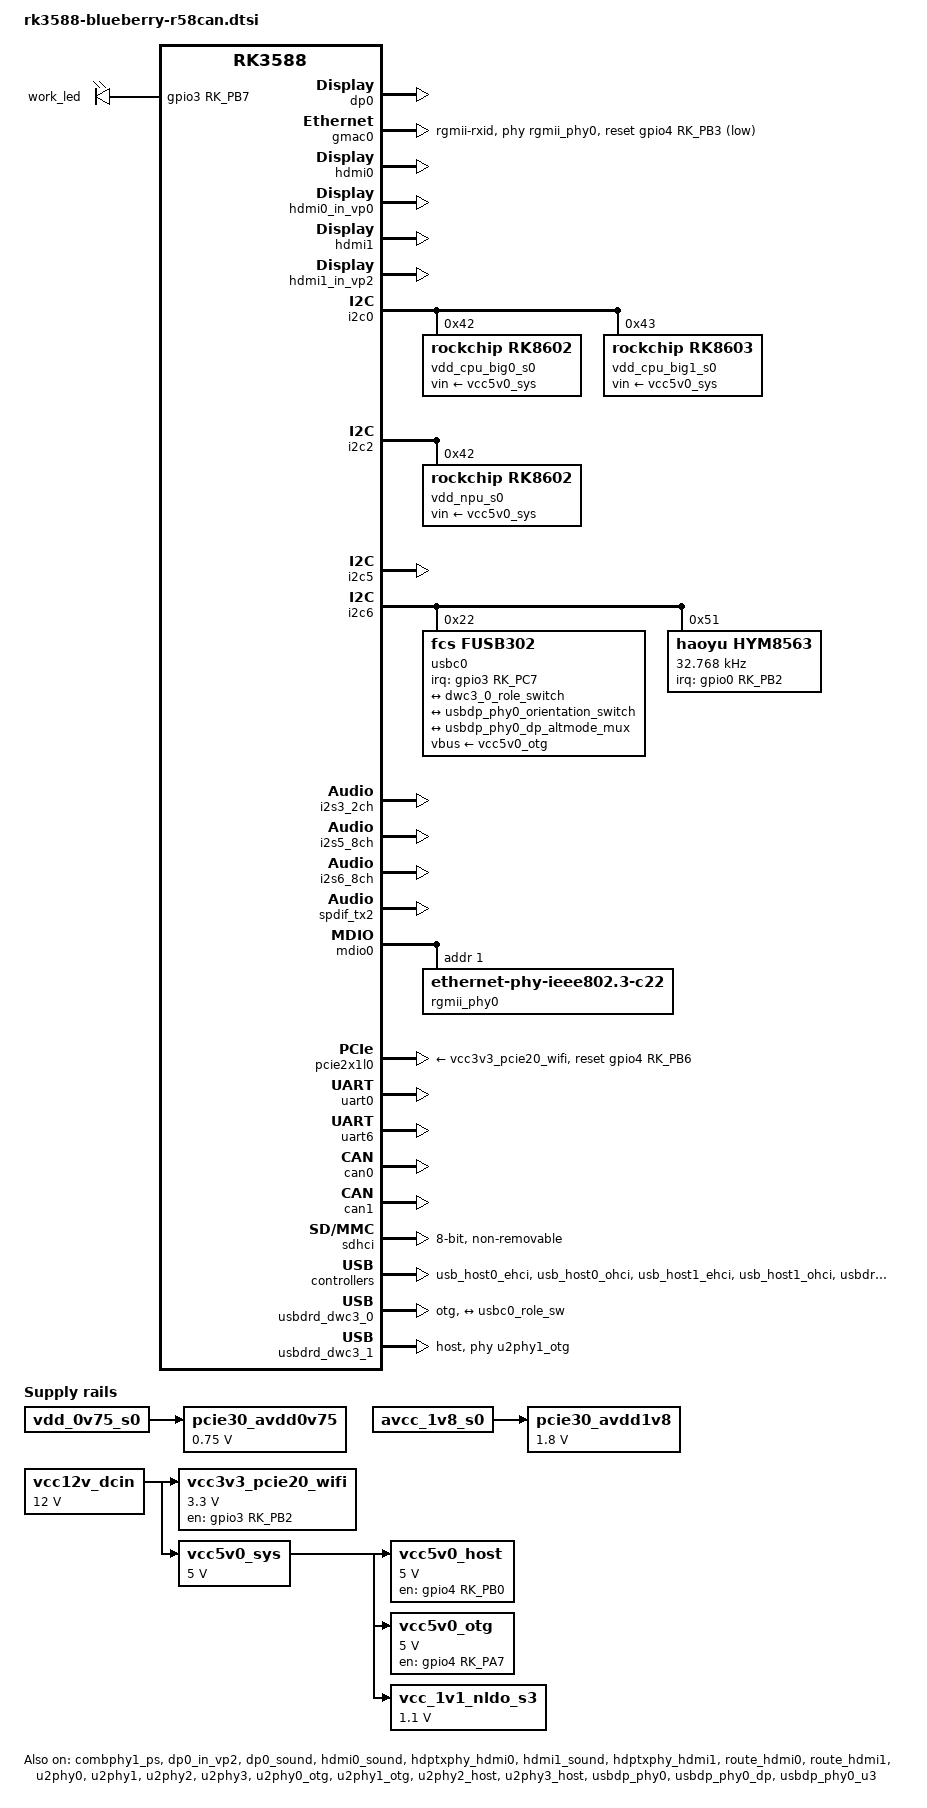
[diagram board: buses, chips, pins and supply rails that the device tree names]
// SPDX-License-Identifier: (GPL-2.0+ OR MIT)
/*
 * Copyright (c) 2021 Rockchip Electronics Co., Ltd.
 *
 */

#include "dt-bindings/usb/pd.h"
#include "rk3588.dtsi"
#include "rk3588-hugsun.dtsi"
#include "rk3588-rk806-single.dtsi"

/ {
	/* If hdmirx node is disabled, delete the reserved-memory node here. */
	reserved-memory {
		#address-cells = <2>;
		#size-cells = <2>;
		ranges;

		/* Reserve 256MB memory for hdmirx-controller@fdee0000 */
		cma {
			compatible = "shared-dma-pool";
			reusable;
			reg = <0x0 (256 * 0x100000) 0x0 (256 * 0x100000)>;
			linux,cma-default;
		};
	};

	i2s_sound {
			compatible = "simple-audio-card";
			simple-audio-card,name = "rockchip-i2s";
			simple-audio-card,format = "i2s";
			simple-audio-card,mclk-fs = < 128 >;
			simple-audio-card,bitclock-master = <&i2s_snd_cpu>;
			simple-audio-card,frame-master = <&i2s_snd_cpu>;
			status = "okay";

			i2s_snd_cpu: simple-audio-card,cpu {
				dai-tdm-slot-num = <2>;
				dai-tdm-slot-width = <16>;
				sound-dai = <&i2s3_2ch>;
			};

			i2s_snd_codec: simple-audio-card,codec {
				sound-dai = <&dummy_i2s_codec>;
			};
	};

	dummy_i2s_codec: dummy-codec {
			status = "okay";
			compatible = "rockchip,dummy-codec";
			#sound-dai-cells = < 0x00 >;
			phandle = < 0x139 >;
	};

	leds: leds {
		compatible = "gpio-leds";
		work_led: work-led {
			gpios = <&gpio3 RK_PB7 GPIO_ACTIVE_HIGH>;
			linux,default-trigger = "heartbeat";
		};
	};

	pcie30_avdd0v75: pcie30-avdd0v75 {
		compatible = "regulator-fixed";
		regulator-name = "pcie30_avdd0v75";
		regulator-boot-on;
		regulator-always-on;
		regulator-min-microvolt = <750000>;
		regulator-max-microvolt = <750000>;
		vin-supply = <&vdd_0v75_s0>;
	};

	pcie30_avdd1v8: pcie30-avdd1v8 {
		compatible = "regulator-fixed";
		regulator-name = "pcie30_avdd1v8";
		regulator-boot-on;
		regulator-always-on;
		regulator-min-microvolt = <1800000>;
		regulator-max-microvolt = <1800000>;
		vin-supply = <&avcc_1v8_s0>;
	};

	vcc12v_dcin: vcc12v-dcin {
		compatible = "regulator-fixed";
		regulator-name = "vcc12v_dcin";
		regulator-always-on;
		regulator-boot-on;
		regulator-min-microvolt = <12000000>;
		regulator-max-microvolt = <12000000>;
	};
	
	vcc3v3_pcie20_wifi: vcc3v3-pcie20-wifi {
		compatible = "regulator-fixed";
		regulator-name = "vcc3v3_pcie20_wifi";
		regulator-min-microvolt = <3300000>;
		regulator-max-microvolt = <3300000>;
		enable-active-high;
		/*
		* wifi_reg_on ����vbat��vddio�ȶ����ʹ�ܣ���reset-gpiosǰ���ߣ�����
		* �ŵ�PCIe�ĵ�Դ�ڵ��в�����ģ��ʱ��
		*/
		gpios = <&gpio3 RK_PB2 GPIO_ACTIVE_HIGH>; /* wifi_reg_on�ܽ� */
		startup-delay-us = <5000>;
		vin-supply = <&vcc12v_dcin>;
	};	

	vcc5v0_sys: vcc5v0-sys {
		compatible = "regulator-fixed";
		regulator-name = "vcc5v0_sys";
		regulator-always-on;
		regulator-boot-on;
		regulator-min-microvolt = <5000000>;
		regulator-max-microvolt = <5000000>;
		vin-supply = <&vcc12v_dcin>;
	};

	vcc5v0_host: vcc5v0-host-regulator {
		compatible = "regulator-fixed";
		regulator-name = "vcc5v0_host";
		regulator-boot-on;
		regulator-always-on;
		regulator-min-microvolt = <5000000>;
		regulator-max-microvolt = <5000000>;
		enable-active-high;
		gpio = <&gpio4 RK_PB0 GPIO_ACTIVE_HIGH>;
		vin-supply = <&vcc5v0_sys>;
		pinctrl-names = "default";
		pinctrl-0 = <&vcc5v0_host_en>;
	};

	vcc5v0_otg: vcc5v0-otg-regulator {
		compatible = "regulator-fixed";
		regulator-name = "vcc5v0_otg";
		regulator-min-microvolt = <5000000>;
		regulator-max-microvolt = <5000000>;
		enable-active-high;
		gpio = <&gpio4 RK_PA7 GPIO_ACTIVE_HIGH>;
		vin-supply = <&vcc5v0_sys>;
		pinctrl-names = "default";
		pinctrl-0 = <&vcc5v0_otg_en>;
	};

	vcc_1v1_nldo_s3: vcc-1v1-nldo-s3 {
		compatible = "regulator-fixed";
		regulator-name = "vcc_1v1_nldo_s3";
		regulator-always-on;
		regulator-boot-on;
		regulator-min-microvolt = <1100000>;
		regulator-max-microvolt = <1100000>;
		vin-supply = <&vcc5v0_sys>;
	};

};

&combphy1_ps {
	status = "okay";
};

&dp0 {
	status = "okay";
};

&dp0_in_vp2 {
	status = "okay";
};
&dp0_sound{
	status = "okay";
};

&gmac0 {
	/* Use rgmii-rxid mode to disable rx delay inside Soc */
	phy-mode = "rgmii-rxid";
	clock_in_out = "output";

	snps,reset-gpio = <&gpio4 RK_PB3 GPIO_ACTIVE_LOW>;
	snps,reset-active-low;
	/* Reset time is 20ms, 100ms for rtl8211f */
	snps,reset-delays-us = <0 20000 100000>;

	pinctrl-names = "default";
	pinctrl-0 = <&gmac0_miim
		     &gmac0_tx_bus2
		     &gmac0_rx_bus2
		     &gmac0_rgmii_clk
		     &gmac0_rgmii_bus>;

	tx_delay = <0x44>;
	/* rx_delay = <0x4f>; */

	phy-handle = <&rgmii_phy0>;
	status = "okay";
};

&hdmi0 {
	enable-gpios = <&gpio4 RK_PB1 GPIO_ACTIVE_HIGH>;
	cec-enable = "true" ;
	hdcp1x-enable;
	status = "okay";
};

&hdmi0_in_vp0 {
	status = "okay";
};

&hdmi0_sound {
	status = "okay";
};

&hdptxphy_hdmi0 {
	status = "okay";
};

&hdmi1 {
	enable-gpios = <&gpio4 RK_PB2 GPIO_ACTIVE_HIGH>;
	cec-enable = "true" ;
	hdcp1x-enable;
	status = "okay";
};

&hdmi1_in_vp2 {
	status = "okay";
};

&hdmi1_sound {
	status = "okay";
};

&hdptxphy_hdmi1 {
	status = "okay";
};


&i2c0 {
	status = "okay";
	pinctrl-names = "default";
	pinctrl-0 = <&i2c0m2_xfer>;

	vdd_cpu_big0_s0: vdd_cpu_big0_mem_s0: rk8602@42 {
		compatible = "rockchip,rk8602";
		reg = <0x42>;
		vin-supply = <&vcc5v0_sys>;
		regulator-compatible = "rk860x-reg";
		regulator-name = "vdd_cpu_big0_s0";
		regulator-min-microvolt = <550000>;
		regulator-max-microvolt = <1050000>;
		regulator-ramp-delay = <2300>;
		rockchip,suspend-voltage-selector = <1>;
		regulator-boot-on;
		regulator-always-on;
		regulator-state-mem {
			regulator-off-in-suspend;
		};
	};

	vdd_cpu_big1_s0: vdd_cpu_big1_mem_s0: rk8603@43 {
		compatible = "rockchip,rk8603";
		reg = <0x43>;
		vin-supply = <&vcc5v0_sys>;
		regulator-compatible = "rk860x-reg";
		regulator-name = "vdd_cpu_big1_s0";
		regulator-min-microvolt = <550000>;
		regulator-max-microvolt = <1050000>;
		regulator-ramp-delay = <2300>;
		rockchip,suspend-voltage-selector = <1>;
		regulator-boot-on;
		regulator-always-on;
		regulator-state-mem {
			regulator-off-in-suspend;
		};
	};
};

&i2c2 {
	status = "okay";

	vdd_npu_s0: vdd_npu_mem_s0: rk8602@42 {
		compatible = "rockchip,rk8602";
		reg = <0x42>;
		vin-supply = <&vcc5v0_sys>;
		regulator-compatible = "rk860x-reg";
		regulator-name = "vdd_npu_s0";
		regulator-min-microvolt = <550000>;
		regulator-max-microvolt = <950000>;
		regulator-ramp-delay = <2300>;
		rockchip,suspend-voltage-selector = <1>;
		regulator-boot-on;
		regulator-always-on;
		regulator-state-mem {
			regulator-off-in-suspend;
		};
	};
};

&i2c5 {
	pinctrl-names = "default";
	pinctrl-0 = <&i2c5m3_xfer>;
	status = "okay";
};

&i2c6 {
	status = "okay";
	usbc0: fusb302@22 {
		compatible = "fcs,fusb302";
		reg = <0x22>;
		interrupt-parent = <&gpio3>;
		interrupts = <RK_PC7 IRQ_TYPE_LEVEL_LOW>;
		pinctrl-names = "default";
		pinctrl-0 = <&usbc0_int>;
		vbus-supply = <&vcc5v0_otg>;
		status = "okay";

		ports {
			#address-cells = <1>;
			#size-cells = <0>;

			port@0 {
				reg = <0>;
				usbc0_role_sw: endpoint@0 {
					remote-endpoint = <&dwc3_0_role_switch>;
				};
			};
		};

		usb_con: connector {
			compatible = "usb-c-connector";
			label = "USB-C";
			data-role = "dual";
			power-role = "dual";
			try-power-role = "sink";
			op-sink-microwatt = <1000000>;
			sink-pdos =
				<PDO_FIXED(5000, 1000, PDO_FIXED_USB_COMM)>;
			source-pdos =
				<PDO_FIXED(5000, 3000, PDO_FIXED_USB_COMM)>;

			altmodes {
				#address-cells = <1>;
				#size-cells = <0>;

				altmode@0 {
					reg = <0>;
					svid = <0xff01>;
					vdo = <0xffffffff>;
				};
			};

			ports {
				#address-cells = <1>;
				#size-cells = <0>;

				port@0 {
					reg = <0>;
					usbc0_orien_sw: endpoint {
						remote-endpoint = <&usbdp_phy0_orientation_switch>;
					};
				};

				port@1 {
					reg = <1>;
					dp_altmode_mux: endpoint {
						remote-endpoint = <&usbdp_phy0_dp_altmode_mux>;
					};
				};
			};
		};
	};

	hym8563: hym8563@51 {
		compatible = "haoyu,hym8563";
		reg = <0x51>;
		#clock-cells = <0>;
		clock-frequency = <32768>;
		clock-output-names = "hym8563";
		pinctrl-names = "default";
		pinctrl-0 = <&hym8563_int>;
		interrupt-parent = <&gpio0>;
		interrupts = <RK_PB2 IRQ_TYPE_LEVEL_LOW>;
		wakeup-source;
	};
};

&i2s3_2ch {
	status = "okay";
	assigned-clocks = <&cru CLK_I2S3_2CH>;
	assigned-clock-parents = <&mclkin_i2s3>;
	pinctrl-0 = <&i2s3_lrck
		     &i2s3_sclk
		     &i2s3_sdo
		     &i2s3_mclk>;
};

//hdmi01 sound
&i2s5_8ch {
	status = "okay";
};

//hdmi02 sound
&i2s6_8ch {
	status = "okay";
};

&spdif_tx2 {
	status = "okay";
};

&mdio0 {
	rgmii_phy0: phy@1 {
		compatible = "ethernet-phy-ieee802.3-c22";
		reg = <0x1>;
	};
};

&pcie2x1l0 {
	reset-gpios = <&gpio4 RK_PB6 GPIO_ACTIVE_HIGH>;
	rockchip,skip-scan-in-resume;
	rockchip,perst-inactive-ms = <500>;
	vpcie3v3-supply = <&vcc3v3_pcie20_wifi>;
	status = "okay";
};

&rk806single {
	pinctrl-names = "default", "pmic-power-off";
	pinctrl-0 = <&pmic_pins>, <&rk806_dvs1_null>, <&rk806_dvs2_null>, <&rk806_dvs3_null>;
	pinctrl-1 = <&rk806_dvs1_slp>, <&rk806_dvs2_null>, <&rk806_dvs3_null>;

	regulators {
		avcc_1v8_s0: PLDO_REG1 {
			regulator-always-on;
			regulator-boot-on;
			regulator-min-microvolt = <1800000>;
			regulator-max-microvolt = <1800000>;
			regulator-name = "avcc_1v8_s0";
			regulator-state-mem {
				regulator-on-in-suspend;
				regulator-suspend-microvolt = <1800000>;
			};
		};
	};
};

//&wdt {
//	status = "okay";
//};

&vdd_log_s0 {  //fox.luo@2022.05.26 don't wake up 
        regulator-state-mem {
        regulator-on-in-suspend;
        regulator-suspend-microvolt = <750000>;
        };
};

&rockchip_suspend {
	status = "okay";
	rockchip,sleep-debug-en = <1>;
	rockchip,virtual-poweroff = <1>;
	rockchip,sleep-mode-config = <
		(0
		| RKPM_SLP_ARMOFF_DDRPD
		)
	>;
	rockchip,wakeup-config = <
		(0
		| RKPM_CPU0_WKUP_EN
		| RKPM_GPIO_WKUP_EN
		)
	>;
};

&route_hdmi0 {
	status = "okay";
	connect = <&vp0_out_hdmi0>;
};

&route_hdmi1 {
	status = "okay";
	connect = <&vp2_out_hdmi1>;
};

//rs485
&uart0 {
	status = "okay";
	pinctrl-names = "default";
	pinctrl-0 = <&uart0m2_xfer>;
};

&uart6 {
	status = "okay";
	pinctrl-names = "default";
	pinctrl-0 = <&uart6m1_xfer>;
};

//can0
&can0 {
	pinctrl-names = "default";
	pinctrl-0 = <&can0m1_pins>;
	status = "okay";
};

&can1 {
	pinctrl-names = "default";
	pinctrl-0 = <&can1m0_pins>;
	status = "okay";
};

&sdhci {
	bus-width = <8>;
	no-sdio;
	no-sd;
	non-removable;
	max-frequency = <200000000>;
	mmc-hs400-1_8v;
	mmc-hs400-enhanced-strobe;
	status = "okay";
};


&pinctrl {


	hym8563 {
		hym8563_int: hym8563-int {
			rockchip,pins = <0 RK_PB2 RK_FUNC_GPIO &pcfg_pull_up>;
		};
	};

	usb {
		vcc5v0_host_en: vcc5v0-host-en {
			rockchip,pins = <4 RK_PB0 RK_FUNC_GPIO &pcfg_pull_none>;
		};

	};

	usb-typec {
		usbc0_int: usbc0-int {
			rockchip,pins = <3 RK_PC7 RK_FUNC_GPIO &pcfg_pull_up>;
		};

		vcc5v0_otg_en: vcc5v0-otg-en {
			rockchip,pins = <4 RK_PA7 RK_FUNC_GPIO &pcfg_pull_none>;
		};
	};

};

//type-c0
&u2phy0 {
	status = "okay";
};

&u2phy1 {
	status = "okay";
};

//usb2.0 host0
&u2phy2 {
	status = "okay";
};

//usb2.0 host1
&u2phy3 {
	status = "okay";
};

&u2phy0_otg {
	rockchip,typec-vbus-det;
	status = "okay";
};

&u2phy1_otg {
	rockchip,sel-pipe-phystatus;
	phy-supply = <&vcc5v0_host>;
	status = "okay";
};

&u2phy2_host {
	phy-supply = <&vcc5v0_host>;
	status = "okay";
};

&u2phy3_host {
	phy-supply = <&vcc5v0_host>;
	status = "okay";
};

&usb_host0_ehci {
	status = "okay";
};

&usb_host0_ohci {
	status = "okay";
};

&usb_host1_ehci {
	status = "okay";
};

&usb_host1_ohci {
	status = "okay";
};

&usbdp_phy0 {
	orientation-switch;
	svid = <0xff01>;
	sbu1-dc-gpios = <&gpio0 RK_PC6 GPIO_ACTIVE_HIGH>;
	sbu2-dc-gpios = <&gpio0 RK_PD3 GPIO_ACTIVE_HIGH>;
	status = "okay";

	port {
		#address-cells = <1>;
		#size-cells = <0>;
		usbdp_phy0_orientation_switch: endpoint@0 {
			reg = <0>;
			remote-endpoint = <&usbc0_orien_sw>;
		};

		usbdp_phy0_dp_altmode_mux: endpoint@1 {
			reg = <1>;
			remote-endpoint = <&dp_altmode_mux>;
		};
	};
};

&usbdp_phy0_dp {
	status = "okay";
};

&usbdp_phy0_u3 {
	status = "okay";
};

&usbdp_phy1 {
	status = "disabled";
};

&usbdp_phy1_dp {
	status = "disabled";
};

&usbdp_phy1_u3 {
	status = "disabled";
};

&usbdrd3_0 {
	status = "okay";
};

&usbdrd3_1 {
	status = "okay";
};

&usbdrd_dwc3_0 {
	dr_mode = "otg";
	usb-role-switch;
	status = "okay";
	port {
		#address-cells = <1>;
		#size-cells = <0>;
		dwc3_0_role_switch: endpoint@0 {
			reg = <0>;
			remote-endpoint = <&usbc0_role_sw>;
		};
	};
};

&usbdrd_dwc3_1 {
	dr_mode = "host";
	phys = <&u2phy1_otg>;
	maximum-speed = "high-speed";
	status = "okay";
};

&vdd_vdenc_s0 {
	regulator-init-microvolt = <750000>;
};

